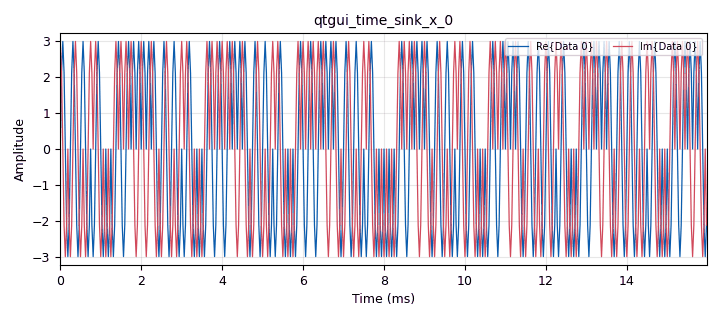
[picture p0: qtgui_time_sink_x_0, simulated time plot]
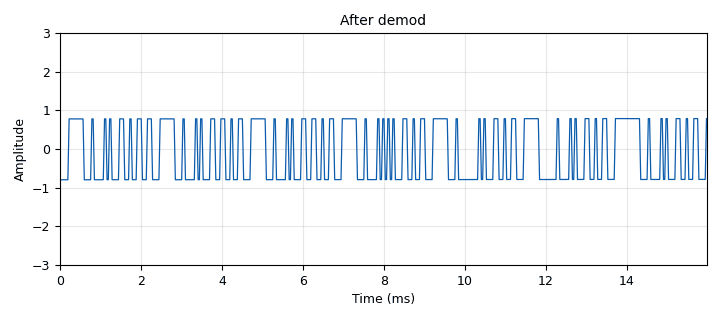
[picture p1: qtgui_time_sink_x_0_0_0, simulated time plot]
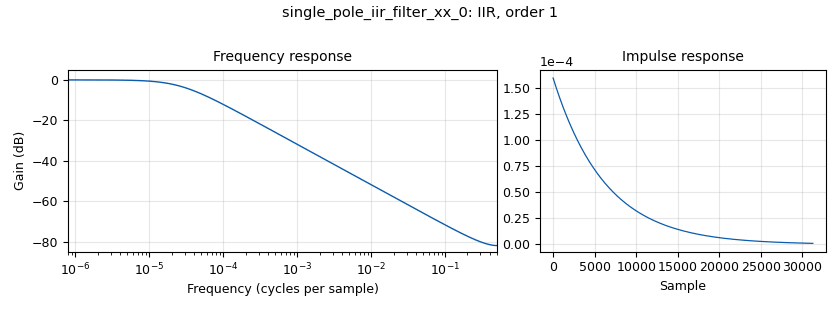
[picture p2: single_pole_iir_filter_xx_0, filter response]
options:
  parameters:
    generate_options: qt_gui
    id: QPSK_new
    output_language: python
    title: Not titled yet
  states: {}

blocks:
- name: chip_mapping
  id: variable
  parameters:
    value: '[1618456172,1309113062,1826650030,1724778362,778887287,2061946375,2007919840,125494990,529027475,838370585,320833617,422705285,1368596360,85537272,139563807,2021988657]'
  states: {}
- name: chip_seq
  id: variable
  parameters:
    value: '[[(chip_mapping[int(format(k,''04b'')[::-1],2)] >> (31-i)) & 1 for i in range(32)] for k in range(16)]'
  states: {}
- name: chiprate
  id: variable
  parameters:
    value: '2000'
  states: {}
- name: num_points
  id: variable
  parameters:
    value: '512'
  states: {}
- name: samp_rate
  id: variable
  parameters:
    value: '32000'
  states: {}
- name: samp_rate_0
  id: variable
  parameters:
    value: '4000000'
  states: {}
- name: analog_agc_xx_0
  id: analog_agc_xx
  parameters:
    gain: '1.0'
    max_gain: '65536'
    rate: '6e-4'
    reference: '1.0'
    type: complex
  states: {state: disabled}
- name: analog_quadrature_demod_cf_0
  id: analog_quadrature_demod_cf
  parameters:
    gain: '1'
  states: {}
- name: blocks_char_to_float_0
  id: blocks_char_to_float
  parameters:
    scale: '1'
  states: {}
- name: blocks_complex_to_float_0
  id: blocks_complex_to_float
  parameters: {}
  states: {}
- name: blocks_delay_0
  id: blocks_delay
  parameters:
    delay: '2'
    type: float
  states: {}
- name: blocks_file_sink_0
  id: blocks_file_sink
  parameters:
    file: /dev/stdout
    type: byte
  states: {state: disabled}
- name: blocks_file_sink_0_0
  id: blocks_file_sink
  parameters:
    file: /Users/lightspark/Documents/BSE/gr-ccsds/USLP/bytes.txt
    type: byte
  states: {}
- name: blocks_float_to_complex_0
  id: blocks_float_to_complex
  parameters:
    minoutbuf: 2**16
  states: {}
- name: blocks_multiply_const_vxx_0
  id: blocks_multiply_const_vxx
  parameters:
    const: '3'
    type: complex
  states: {}
- name: blocks_multiply_xx_0
  id: blocks_multiply_xx
  parameters:
    type: complex
  states: {}
- name: blocks_packed_to_unpacked_xx_0
  id: blocks_packed_to_unpacked_xx
  parameters:
    bits_per_chunk: '4'
    endianness: gr.GR_LSB_FIRST
    type: byte
  states: {}
- name: blocks_repeat_0
  id: blocks_repeat
  parameters:
    interp: '4'
    type: complex
  states: {}
- name: blocks_sub_xx_0
  id: blocks_sub_xx
  parameters:
    type: float
  states: {}
- name: blocks_throttle2_0
  id: blocks_throttle2
  parameters:
    samples_per_second: samp_rate
    type: byte
  states: {}
- name: blocks_unpacked_to_packed_xx_0
  id: blocks_unpacked_to_packed_xx
  parameters:
    bits_per_chunk: '1'
    endianness: gr.GR_LSB_FIRST
    type: byte
  states: {}
- name: blocks_vector_source_x_0
  id: blocks_vector_source_x
  parameters:
    repeat: 'True'
    type: complex
    vector: '[0, sin(pi/4), 1, sin(3*pi/4)]'
  states: {}
- name: blocks_vector_source_x_1
  id: blocks_vector_source_x
  parameters:
    repeat: 'True'
    type: complex
    vector: (1+1j), (-1+1j), (1-1j), (-1+1j), (1+1j), (-1-1j), (-1-1j), (1+1j), (-1+1j), (-1+1j), (-1-1j), (1-1j), (-1-1j), (1-1j), (1+1j), (1-1j)
  states: {state: disabled}
- name: blocks_vector_source_x_2
  id: blocks_vector_source_x
  parameters:
    repeat: 'False'
    type: byte
    vector: (0x10, 0x32, 0x54, 0x76, 0x98, 0xBA, 0xDC, 0xFE)
  states: {}
- name: digital_chunks_to_symbols_xx_0
  id: digital_chunks_to_symbols_xx
  parameters:
    dimension: '16'
    in_type: byte
    out_type: complex
    symbol_table: '[(1+1j), (-1+1j), (1-1j), (-1+1j), (1+1j), (-1-1j), (-1-1j), (1+1j), (-1+1j), (-1+1j), (-1-1j), (1-1j), (-1-1j), (1-1j), (1+1j), (1-1j), (1-1j), (-1-1j), (1+1j), (-1-1j), (1-1j), (-1+1j), (-1+1j), (1-1j), (-1-1j), (-1-1j), (-1+1j), (1+1j), (-1+1j), (1+1j), (1-1j), (1+1j), (-1+1j), (-1+1j), (-1-1j), (1-1j), (-1-1j), (1-1j), (1+1j), (1-1j), (1+1j), (-1+1j), (1-1j), (-1+1j), (1+1j), (-1-1j), (-1-1j), (1+1j), (-1-1j), (-1-1j), (-1+1j), (1+1j), (-1+1j), (1+1j), (1-1j), (1+1j), (1-1j), (-1-1j), (1+1j), (-1-1j), (1-1j), (-1+1j), (-1+1j), (1-1j), (-1-1j), (1-1j), (1+1j), (1-1j), (1+1j), (-1+1j), (1-1j), (-1+1j), (1+1j), (-1-1j), (-1-1j), (1+1j), (-1+1j), (-1+1j), (-1-1j), (1-1j), (-1+1j), (1+1j), (1-1j), (1+1j), (1-1j), (-1-1j), (1+1j), (-1-1j), (1-1j), (-1+1j), (-1+1j), (1-1j), (-1-1j), (-1-1j), (-1+1j), (1+1j), (1+1j), (-1-1j), (-1-1j), (1+1j), (-1+1j), (-1+1j), (-1-1j), (1-1j), (-1-1j), (1-1j), (1+1j), (1-1j), (1+1j), (-1+1j), (1-1j), (-1+1j), (1-1j), (-1+1j), (-1+1j), (1-1j), (-1-1j), (-1-1j), (-1+1j), (1+1j), (-1+1j), (1+1j), (1-1j), (1+1j), (1-1j), (-1-1j), (1+1j), (-1-1j), (1+1j), (1-1j), (1+1j), (-1+1j), (1-1j), (-1+1j), (1+1j), (-1-1j), (-1-1j), (1+1j), (-1+1j), (-1+1j), (-1-1j), (1-1j), (-1-1j), (1-1j), (1-1j), (1+1j), (1-1j), (-1-1j), (1+1j), (-1-1j), (1-1j), (-1+1j), (-1+1j), (1-1j), (-1-1j), (-1-1j), (-1+1j), (1+1j), (-1+1j), (1+1j), (-1-1j), (1+1j), (-1+1j), (-1+1j), (-1-1j), (1-1j), (-1-1j), (1-1j), (1+1j), (1-1j), (1+1j), (-1+1j), (1-1j), (-1+1j), (1+1j), (-1-1j), (-1+1j), (1-1j), (-1-1j), (-1-1j), (-1+1j), (1+1j), (-1+1j), (1+1j), (1-1j), (1+1j), (1-1j), (-1-1j), (1+1j), (-1-1j), (1-1j), (-1+1j), (-1-1j), (1-1j), (-1-1j), (1-1j), (1+1j), (1-1j), (1+1j), (-1+1j), (1-1j), (-1+1j), (1+1j), (-1-1j), (-1-1j), (1+1j), (-1+1j), (-1+1j), (-1+1j), (1+1j), (-1+1j), (1+1j), (1-1j), (1+1j), (1-1j), (-1-1j), (1+1j), (-1-1j), (1-1j), (-1+1j), (-1+1j), (1-1j), (-1-1j), (-1-1j), (1-1j), (-1+1j), (1+1j), (-1-1j), (-1-1j), (1+1j), (-1+1j), (-1+1j), (-1-1j), (1-1j), (-1-1j), (1-1j), (1+1j), (1-1j), (1+1j), (-1+1j), (1+1j), (-1-1j), (1-1j), (-1+1j), (-1+1j), (1-1j), (-1-1j), (-1-1j), (-1+1j), (1+1j), (-1+1j), (1+1j), (1-1j), (1+1j), (1-1j), (-1-1j)]'
  states: {}
- name: digital_clock_recovery_mm_xx_0
  id: digital_clock_recovery_mm_xx
  parameters:
    gain_mu: '0.03'
    gain_omega: '0.000225'
    mu: '0.5'
    omega: '2'
    omega_relative_limit: '0.0002'
    type: float
  states: {state: disabled}
- name: digital_symbol_sync_xx_0
  id: digital_symbol_sync_xx
  parameters:
    damping: '1.0'
    loop_bw: '0.25'
    max_dev: '0.0003'
    nfilters: '128'
    osps: '1'
    resamp_type: digital.IR_PFB_NO_MF
    sps: '8'
    ted_gain: '1.0'
    ted_type: digital.TED_GARDNER
    type: ff
  states: {state: disabled}
- name: ieee802_15_4_access_code_prefixer_0
  id: ieee802_15_4_access_code_prefixer
  parameters:
    pad: '0x00'
    preamble: '0x000000a7'
  states: {state: disabled}
- name: ieee802_15_4_chips_to_bits_fb_0
  id: ieee802_15_4_chips_to_bits_fb
  parameters:
    chip_seq: chip_seq
  states: {}
- name: ieee802_15_4_packet_sink_0
  id: ieee802_15_4_packet_sink
  parameters:
    th: '10'
  states: {state: disabled}
- name: import_0
  id: import
  parameters:
    imports: from math import sin, pi
  states: {}
- name: low_pass_filter_0
  id: low_pass_filter
  parameters:
    cutoff_freq: 1.5*chiprate
    decim: '1'
    gain: '1'
    samp_rate: samp_rate
    type: fir_filter_ccf
    width: 0.5*chiprate
    win: window.WIN_HAMMING
  states: {state: disabled}
- name: network_udp_source_0
  id: network_udp_source
  parameters:
    header: '0'
    ipv6: 'False'
    notify_missed: 'False'
    payloadsize: '1024'
    port: '5000'
    src_zeros: 'False'
    type: byte
  states: {state: disabled}
- name: note_0
  id: note
  parameters:
    note: lower nipple is sent first
  states: {}
- name: note_1
  id: note
  parameters:
    note: maps chunks of 4 bis directly to qpsk symbols
  states: {}
- name: note_2
  id: note
  parameters:
    note: half sine pulse shape
  states: {}
- name: note_3
  id: note
  parameters:
    note: 4 samples per (chip) symbol
  states: {}
- name: pad_sink_0
  id: pad_sink
  parameters:
    label: txout
    optional: 'True'
    type: complex
  states: {state: disabled}
- name: pad_sink_1
  id: pad_sink
  parameters:
    label: rxout
    optional: 'True'
    type: message
  states: {state: disabled}
- name: pad_source_0
  id: pad_source
  parameters:
    label: rxin
    optional: 'True'
    type: complex
  states: {state: disabled}
- name: pad_source_1
  id: pad_source
  parameters:
    label: txin
    optional: 'True'
    type: message
  states: {state: disabled}
- name: pdu_pdu_to_tagged_stream_0
  id: pdu_pdu_to_tagged_stream
  parameters:
    tag: packet_len
    type: byte
  states: {state: disabled}
- name: qtgui_time_sink_x_0
  id: qtgui_time_sink_x
  parameters:
    size: num_points
    srate: samp_rate
    type: complex
    ymax: '3'
    ymin: '-3'
  states: {}
- name: qtgui_time_sink_x_0_0
  id: qtgui_time_sink_x
  parameters:
    size: num_points
    srate: samp_rate
    type: float
    ymax: '3'
    ymin: '-3'
  states: {state: disabled}
- name: qtgui_time_sink_x_0_0_0
  id: qtgui_time_sink_x
  parameters:
    name: '"After demod"'
    size: num_points
    srate: samp_rate
    type: float
    ymax: '3'
    ymin: '-3'
  states: {}
- name: qtgui_time_sink_x_0_0_0_0
  id: qtgui_time_sink_x
  parameters:
    name: '"output"'
    size: num_points
    srate: samp_rate
    type: float
    ymax: '3'
    ymin: '-3'
  states: {}
- name: qtgui_time_sink_x_0_1
  id: qtgui_time_sink_x
  parameters:
    size: '128'
    srate: samp_rate
    type: complex
    ymax: '3'
    ymin: '-3'
  states: {state: disabled}
- name: single_pole_iir_filter_xx_0
  id: single_pole_iir_filter_xx
  parameters:
    alpha: '0.00016'
    type: float
  states: {}

connections:
- [analog_agc_xx_0, '0', analog_quadrature_demod_cf_0, '0']
- [analog_quadrature_demod_cf_0, '0', blocks_sub_xx_0, '0']
- [analog_quadrature_demod_cf_0, '0', single_pole_iir_filter_xx_0, '0']
- [blocks_char_to_float_0, '0', qtgui_time_sink_x_0_0_0_0, '0']
- [blocks_complex_to_float_0, '0', blocks_float_to_complex_0, '0']
- [blocks_complex_to_float_0, '1', blocks_delay_0, '0']
- [blocks_delay_0, '0', blocks_float_to_complex_0, '1']
- [blocks_float_to_complex_0, '0', analog_quadrature_demod_cf_0, '0']
- [blocks_float_to_complex_0, '0', low_pass_filter_0, '0']
- [blocks_float_to_complex_0, '0', pad_sink_0, '0']
- [blocks_float_to_complex_0, '0', qtgui_time_sink_x_0, '0']
- [blocks_multiply_const_vxx_0, '0', blocks_complex_to_float_0, '0']
- [blocks_multiply_xx_0, '0', blocks_multiply_const_vxx_0, '0']
- [blocks_packed_to_unpacked_xx_0, '0', digital_chunks_to_symbols_xx_0, '0']
- [blocks_repeat_0, '0', blocks_multiply_xx_0, '1']
- [blocks_sub_xx_0, '0', digital_clock_recovery_mm_xx_0, '0']
- [blocks_sub_xx_0, '0', digital_symbol_sync_xx_0, '0']
- [blocks_sub_xx_0, '0', ieee802_15_4_chips_to_bits_fb_0, '0']
- [blocks_sub_xx_0, '0', qtgui_time_sink_x_0_0_0, '0']
- [blocks_throttle2_0, '0', blocks_packed_to_unpacked_xx_0, '0']
- [blocks_unpacked_to_packed_xx_0, '0', blocks_file_sink_0_0, '0']
- [blocks_vector_source_x_0, '0', blocks_multiply_xx_0, '0']
- [blocks_vector_source_x_2, '0', blocks_throttle2_0, '0']
- [digital_chunks_to_symbols_xx_0, '0', blocks_repeat_0, '0']
- [digital_clock_recovery_mm_xx_0, '0', ieee802_15_4_packet_sink_0, '0']
- [digital_symbol_sync_xx_0, '0', ieee802_15_4_chips_to_bits_fb_0, '0']
- [digital_symbol_sync_xx_0, '0', ieee802_15_4_packet_sink_0, '0']
- [digital_symbol_sync_xx_0, '0', qtgui_time_sink_x_0_0, '0']
- [ieee802_15_4_access_code_prefixer_0, out, pdu_pdu_to_tagged_stream_0, pdus]
- [ieee802_15_4_chips_to_bits_fb_0, '0', blocks_char_to_float_0, '0']
- [ieee802_15_4_chips_to_bits_fb_0, '0', blocks_unpacked_to_packed_xx_0, '0']
- [ieee802_15_4_packet_sink_0, out, pad_sink_1, in]
- [low_pass_filter_0, '0', analog_agc_xx_0, '0']
- [low_pass_filter_0, '0', analog_quadrature_demod_cf_0, '0']
- [low_pass_filter_0, '0', qtgui_time_sink_x_0_1, '0']
- [network_udp_source_0, '0', blocks_packed_to_unpacked_xx_0, '0']
- [pad_source_0, '0', low_pass_filter_0, '0']
- [pad_source_1, out, ieee802_15_4_access_code_prefixer_0, in]
- [single_pole_iir_filter_xx_0, '0', blocks_sub_xx_0, '1']

metadata:
  file_format: 1
  grc_version: 3.10.12.0
